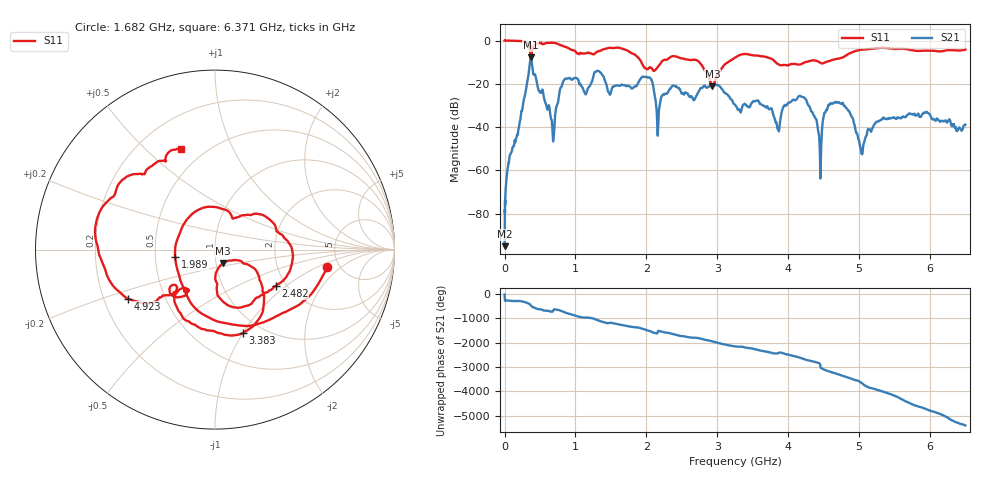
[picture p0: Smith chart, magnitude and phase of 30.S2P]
!Keysight Technologies,E5063A,MY54503115,A.05.08
!Date: Wed Nov 22 14:33:54 2023
!Data & Calibration Information:
!Freq	S11:NONE(--)	S21:NONE(--)	S12:NONE(--)	S22:NONE(--)
# Hz S dB R 50
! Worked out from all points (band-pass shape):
!   10001 points, 100 kHz to 6.5 GHz, reference 50 ohm
!   highest |S21| = -7.73 dB at 368.6 MHz (marker M1); lowest = -95.0 dB at 100 kHz (marker M2)
!   |S21| within 3 dB of the highest: 355.6 MHz to 386.6 MHz (31.08 MHz wide, 8.37 % of centre)
!   lowest |S11| = -21.1 dB at 2.93 GHz (marker M3), VSWR 1.19, Z = 54.1 - j8.28 ohm
!   |S11| at or under -10 dB: 1.929 GHz to 2.21 GHz (281.3 MHz wide, 13.6 % of centre); 2.747 GHz to 3.151 GHz (404.2 MHz wide, 13.7 % of centre); 3.822 GHz to 4.245 GHz (422.4 MHz wide, 10.5 % of centre) (the widest 3 of 4)
!   S12 and S22 are empty: the file has one direction only
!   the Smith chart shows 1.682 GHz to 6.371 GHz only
!   S11 on the Smith chart (normalised r, x): 1.682 GHz: 4.03, -1.27; 1.989 GHz: 0.63, -0.05; 2.482 GHz: 1.76, -0.85; 3.383 GHz: 0.81, -1.00; 4.923 GHz: 0.30, -0.24; 6.371 GHz: 0.37, +0.65
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100000  0.05 -0.6  -95.01 -34.5  -200.00 0.0  -200.00 0.0
2.295465e8  -0.23 -75.9  -34.79 57.7  -200.00 0.0  -200.00 0.0
3.686443e8  -8.95 -136.2  -7.73 -116.5  -200.00 0.0  -200.00 0.0
6.773896e8  -1.02 126.2  -43.05 -12.7  -200.00 0.0  -200.00 0.0
8.710866e8  -3.04 8.4  -17.65 -68.3  -200.00 0.0  -200.00 0.0
1.083633e9  -5.88 -163.3  -21.07 114.8  -200.00 0.0  -200.00 0.0
1.402778e9  -3.97 79.4  -17.43 -96.0  -200.00 0.0  -200.00 0.0
1.681624e9  -3.97 -8.6  -20.60 143.0  -200.00 0.0  -200.00 0.0
1.989069e9  -12.91 -169.7  -16.78 -34.1  -200.00 0.0  -200.00 0.0
2.167167e9  -11.89 48.9  -37.60 -81.2  -200.00 0.0  -200.00 0.0
2.481762e9  -8.09 -31.1  -23.12 69.9  -200.00 0.0  -200.00 0.0
2.930255e9  -21.07 -59.2  -20.32 -152.4  -200.00 0.0  -200.00 0.0
3.25005e9  -7.88 -47.5  -29.59 4.9  -200.00 0.0  -200.00 0.0
3.383298e9  -6.18 -71.8  -29.24 -33.8  -200.00 0.0  -200.00 0.0
4.333583e9  -9.25 -130.4  -32.89 119.8  -200.00 0.0  -200.00 0.0
4.446682e9  -10.14 -140.4  -51.24 7.9  -200.00 0.0  -200.00 0.0
4.592929e9  -9.36 -133.5  -29.12 44.6  -200.00 0.0  -200.00 0.0
4.923124e9  -5.10 -150.5  -37.64 85.3  -200.00 0.0  -200.00 0.0
5.039472e9  -4.21 -165.1  -52.26 -62.8  -200.00 0.0  -200.00 0.0
5.417117e9  -3.57 157.3  -35.84 -123.2  -200.00 0.0  -200.00 0.0
6.370652e9  -4.51 108.8  -41.18 130.4  -200.00 0.0  -200.00 0.0
6.5e9  -4.20 108.0  -38.93 6.6  -200.00 0.0  -200.00 0.0
